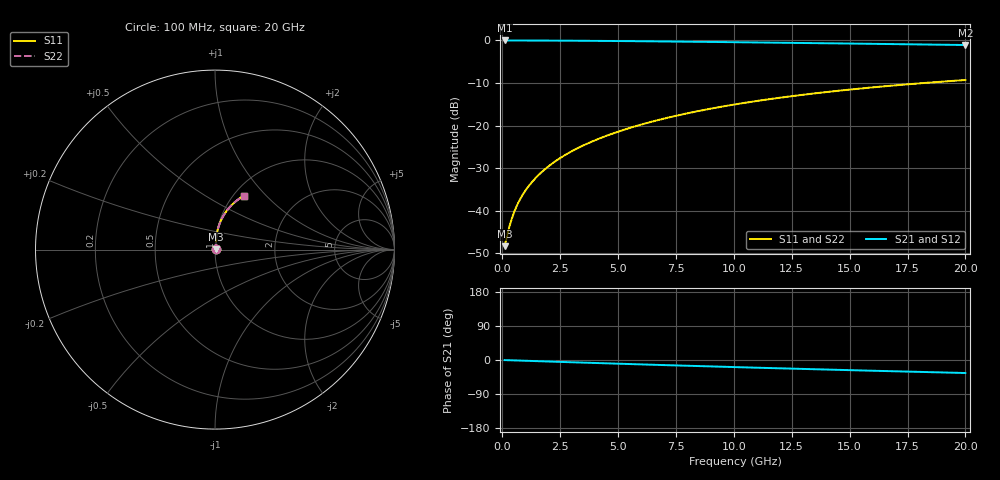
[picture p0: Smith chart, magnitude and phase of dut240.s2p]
! Touchstone file exported from HFSS 2024.1.0
!  File:  C:/UserFiles/LocalFiles/RDL_TSV_Batchsim/temp_RDL_top_240_1778688499.aedt
!  Generated:  12:10:24 AM May 14, 2026
!  Design:  RDL_top
!  Project:  temp_RDL_top_240_1778688499
!  Setup:  Setup1
!  Solution:  Sweep
! Variables:
!  dtsv = 10.80580581um
!  hbump = 3um
!  htsv = 84.07um
!  ldown = 100um
!  lrdl = 450.55um
!  p = 40
!  p1 = 50.38um
!  rhole = 1um
!  t = 450um
!  tdown = 3.915915916um
!  trdl = 2.42um
!  wdown = 15.38538539um
!  wrdl = 21.19um
# GHz S MA R 50.000000
! Terminal data exported
! Port[1] = Box2_T1
! Port[2] = Box2_T2
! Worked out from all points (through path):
!   200 points, 100 MHz to 20 GHz, reference 50 ohm
!   highest |S21| = -0.03 dB at 100 MHz (marker M1); lowest = -1.1 dB at 20 GHz (marker M2)
!   group delay of S21, straight-line fit = 4.74 ps
!   lowest |S11| = -48.3 dB at 100 MHz (marker M3), VSWR 1.01, Z = 50.3 + j0.181 ohm
!   |S11| at or under -10 dB: start of sweep to 18.25 GHz
!   |S22| runs from -48.3 to -9.3 dB; largest |S21 - S12| = 3.4e-15
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0.1  0.003842 27.9  0.9966 -0.2  0.9966 -0.2  0.003842 27.9
! Gamma 0 0 0 0
! Port Impedance 50 0 50 0
0.3  0.006412 55.9  0.9964 -0.6  0.9964 -0.6  0.006412 55.9
0.4  0.007931 62.0  0.9962 -0.8  0.9962 -0.8  0.007931 62.0
0.5  0.009477 66.0  0.996 -1.0  0.996 -1.0  0.009477 66.0
0.6  0.01103 68.9  0.9958 -1.2  0.9958 -1.2  0.01103 68.9
0.8  0.01415 72.9  0.9955 -1.6  0.9955 -1.6  0.01415 72.9
1  0.01728 75.5  0.9952 -2.0  0.9952 -2.0  0.01728 75.5
1.2  0.02043 77.4  0.9948 -2.4  0.9948 -2.4  0.02043 77.4
1.4  0.02362 78.8  0.9944 -2.8  0.9944 -2.8  0.02362 78.8
1.7  0.02844 80.4  0.9938 -3.4  0.9938 -3.4  0.02844 80.4
2.2  0.0366 82.0  0.9925 -4.4  0.9925 -4.4  0.0366 82.0
2.8  0.04657 83.0  0.9907 -5.6  0.9907 -5.6  0.04657 83.0
3.5  0.05845 83.6  0.9881 -6.9  0.9881 -6.9  0.05845 83.6
4.2  0.07057 83.7  0.9852 -8.3  0.9852 -8.3  0.07057 83.7
5  0.0847 83.4  0.9813 -9.8  0.9813 -9.8  0.0847 83.4
6.8  0.1173 81.9  0.9714 -13.1  0.9714 -13.1  0.1173 81.9
8.4  0.1468 79.9  0.9617 -15.9  0.9617 -15.9  0.1467 79.9
10.1  0.178 77.4  0.9506 -18.9  0.9506 -18.9  0.178 77.4
11.7  0.207 74.9  0.9399 -21.5  0.9399 -21.5  0.2069 74.9
13.4  0.237 72.2  0.9282 -24.3  0.9282 -24.3  0.2369 72.1
16.7  0.292 66.8  0.9048 -29.4  0.9048 -29.4  0.2919 66.8
20  0.3423 61.7  0.8811 -34.3  0.8811 -34.3  0.3421 61.6
